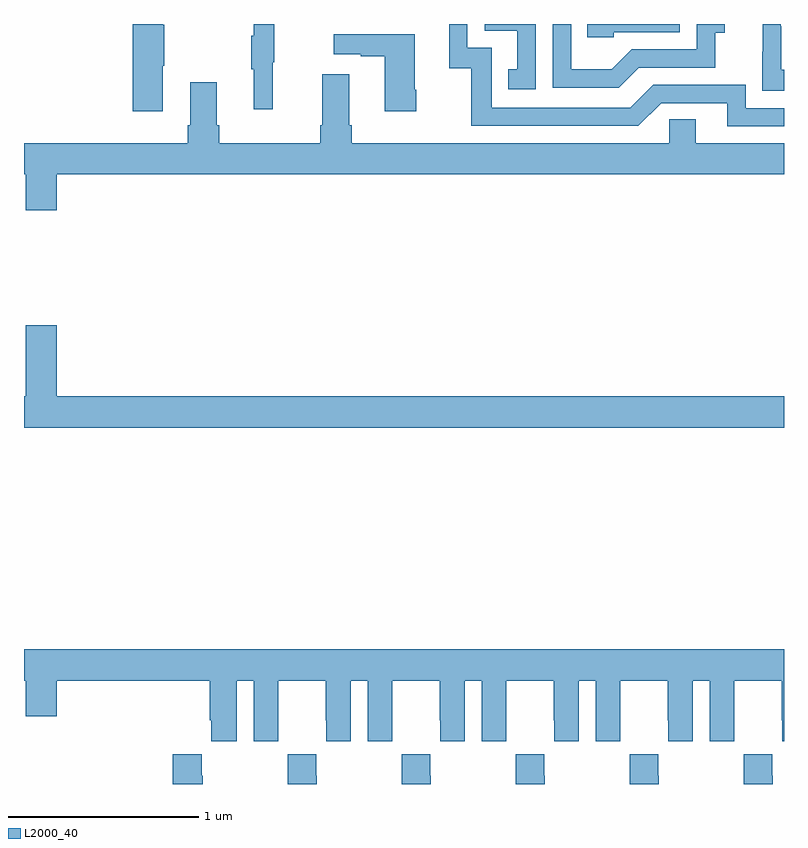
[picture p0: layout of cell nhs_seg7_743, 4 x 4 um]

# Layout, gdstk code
import gdstk
lib = gdstk.Library(unit=1e-6, precision=1e-09)
def P(c, l, *ps):  # polygons
    for p in ps: c.add(gdstk.Polygon(p, *l))
L2000_40 = (2000, 40)

nhs_seg7_743 = lib.new_cell('nhs_seg7_743')
P(nhs_seg7_743, L2000_40, [(169,1075.759),(168.986,1075.759),(168.986,1075.988),(168.984,1075.988),(168.984,1076),(168.887,1076),(168.887,1075.855),(168.886,1075.855),(168.886,1075.649),(169,1075.649)],
  [(168.105,1075.956),(168.45,1075.956),(168.45,1076),(167.965,1076),(167.965,1075.929),(168.105,1075.929)],
  [(169,1075.557),(168.798,1075.557),(168.798,1075.68),(168.312,1075.68),(168.192,1075.56),(167.463,1075.56),(167.463,1075.875),(167.334,1075.875),(167.334,1076),(167.237,1076),(167.237,1075.767),(167.355,1075.767),(167.355,1075.464),(168.234,1075.464),(168.354,1075.584),(168.701,1075.584),(168.701,1075.461),(169,1075.461)],
  [(166.31,1075.8),(166.318,1075.8),(166.318,1076),(166.208,1076),(166.208,1075.937),(166.197,1075.937),(166.197,1075.763),(166.208,1075.763),(166.208,1075.551),(166.31,1075.551)],
  [(167.694,1076),(167.424,1076),(167.424,1075.965),(167.597,1075.965),(167.597,1075.761),(167.548,1075.761),(167.548,1075.656),(167.694,1075.656)],
  [(165.73,1075.78),(165.738,1075.78),(165.738,1075.997),(165.73,1075.997),(165.73,1076),(165.572,1076),(165.572,1075.542),(165.73,1075.542)],
  [(168.235,1075.77),(168.639,1075.77),(168.639,1075.955),(168.688,1075.955),(168.688,1076),(168.54,1076),(168.54,1075.866),(168.198,1075.866),(168.094,1075.762),(167.88,1075.762),(167.88,1076),(167.784,1076),(167.784,1075.665),(168.13,1075.665)],
  [(167.064,1075.654),(167.056,1075.654),(167.056,1075.945),(166.629,1075.945),(166.629,1075.841),(166.772,1075.841),(166.772,1075.831),(166.898,1075.831),(166.898,1075.542),(167.064,1075.542)],
  [(165,1075.208),(165.008,1075.208),(165.008,1075.02),(165.172,1075.02),(165.172,1075.208),(169,1075.208),(169,1075.372),(168.535,1075.372),(168.535,1075.499),(168.396,1075.499),(168.396,1075.372),(166.724,1075.372),(166.724,1075.468),(166.711,1075.468),(166.711,1075.735),(166.571,1075.735),(166.571,1075.468),(166.559,1075.468),(166.559,1075.372),(166.028,1075.372),(166.028,1075.468),(166.015,1075.468),(166.015,1075.693),(165.875,1075.693),(165.875,1075.468),(165.863,1075.468),(165.863,1075.372),(165,1075.372)],
  [(169,1074.04),(165.172,1074.04),(165.172,1074.415),(165.008,1074.415),(165.008,1074.04),(165,1074.04),(165,1073.876),(169,1073.876)],
  [(165,1072.544),(165.008,1072.544),(165.008,1072.356),(165.172,1072.356),(165.172,1072.544),(165.977,1072.544),(165.977,1072.336),(165.986,1072.336),(165.986,1072.224),(166.12,1072.224),(166.12,1072.544),(166.208,1072.544),(166.208,1072.224),(166.338,1072.224),(166.338,1072.336),(166.339,1072.336),(166.339,1072.544),(166.589,1072.544),(166.589,1072.336),(166.59,1072.336),(166.59,1072.224),(166.72,1072.224),(166.72,1072.544),(166.808,1072.544),(166.808,1072.224),(166.938,1072.224),(166.938,1072.336),(166.939,1072.336),(166.939,1072.544),(167.189,1072.544),(167.189,1072.336),(167.19,1072.336),(167.19,1072.224),(167.32,1072.224),(167.32,1072.544),(167.408,1072.544),(167.408,1072.224),(167.538,1072.224),(167.538,1072.336),(167.539,1072.336),(167.539,1072.544),(167.789,1072.544),(167.789,1072.336),(167.79,1072.336),(167.79,1072.224),(167.92,1072.224),(167.92,1072.544),(168.008,1072.544),(168.008,1072.224),(168.138,1072.224),(168.138,1072.336),(168.139,1072.336),(168.139,1072.544),(168.389,1072.544),(168.389,1072.336),(168.39,1072.336),(168.39,1072.224),(168.52,1072.224),(168.52,1072.544),(168.608,1072.544),(168.608,1072.224),(168.738,1072.224),(168.738,1072.336),(168.739,1072.336),(168.739,1072.544),(168.989,1072.544),(168.989,1072.336),(168.99,1072.336),(168.99,1072.224),(169,1072.224),(169,1072.708),(165,1072.708)],
  [(168.342,1072.043),(168.339,1072.043),(168.339,1072.156),(168.189,1072.156),(168.189,1072.043),(168.187,1072.043),(168.187,1072),(168.342,1072)],
  [(168.942,1072.043),(168.939,1072.043),(168.939,1072.156),(168.789,1072.156),(168.789,1072.043),(168.787,1072.043),(168.787,1072),(168.942,1072)],
  [(166.542,1072.043),(166.539,1072.043),(166.539,1072.156),(166.389,1072.156),(166.389,1072.043),(166.387,1072.043),(166.387,1072),(166.542,1072)],
  [(165.942,1072.043),(165.935,1072.043),(165.935,1072.156),(165.782,1072.156),(165.782,1072),(165.942,1072)],
  [(167.142,1072.043),(167.139,1072.043),(167.139,1072.156),(166.989,1072.156),(166.989,1072.043),(166.987,1072.043),(166.987,1072),(167.142,1072)],
  [(167.742,1072.043),(167.739,1072.043),(167.739,1072.156),(167.589,1072.156),(167.589,1072.043),(167.587,1072.043),(167.587,1072),(167.742,1072)])

lib.write_gds('nhs_seg7_743.gds')
